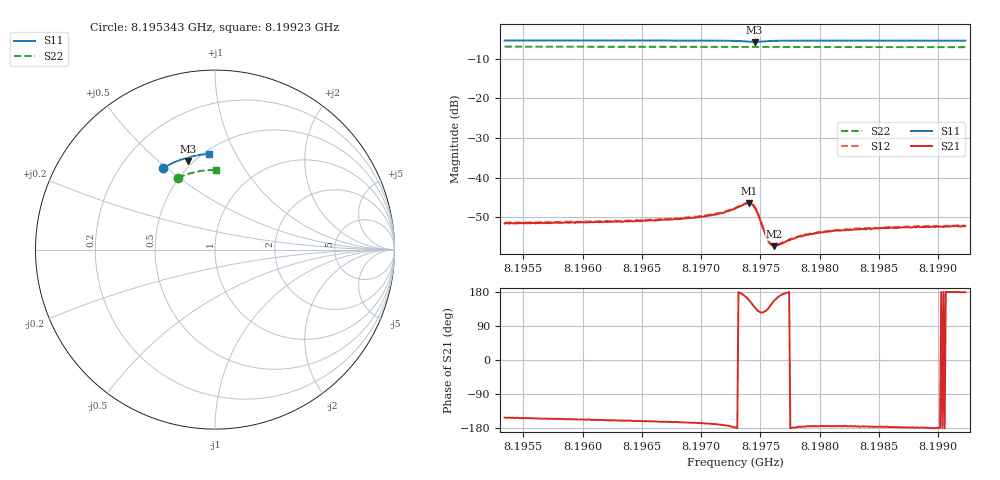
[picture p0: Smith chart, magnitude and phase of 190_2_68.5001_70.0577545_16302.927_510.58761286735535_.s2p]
#  HZ  S  RI  R  50.00
! Rohde & Schwarz Vector Network Analyzer
! Rohde-Schwarz,ZNB20-2Port,1311601062101988,3.16
! Created: UTC 3/20/2024, 5:12:12 PM
! freq[Hz]  re:S11  im:S11  re:S21  im:S21  re:S12  im:S12  re:S22  im:S22
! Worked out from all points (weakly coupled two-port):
!   401 points, 8.195343 GHz to 8.19923 GHz, reference 50 ohm
!   highest |S21| = -46.42 dB at 8.197403 GHz (marker M1); lowest = -57.3 dB at 8.197617 GHz (marker M2)
!   lowest |S11| = -5.8 dB at 8.197451 GHz (marker M3), VSWR 3.12, Z = 23.5 + j31.6 ohm
!   |S11| at or under -10 dB: nowhere
!   |S22| runs from -7.1 to -7.0 dB; largest |S21 - S12| = 0.00023
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8.1953427e9  -0.2883 0.4537  -0.00234 -0.00124  -0.00246 -0.00116  -0.2063 0.399
8.1959938e9  -0.2479 0.4763  -0.00254 -0.00107  -0.0026 -0.000999  -0.1727 0.4136
8.1966449e9  -0.2051 0.4954  -0.00283 -0.000873  -0.00288 -0.000776  -0.1381 0.4251
8.1968198e9  -0.1931 0.4999  -0.00291 -0.000817  -0.003 -0.000678  -0.1286 0.428
8.1970239e9  -0.178 0.5047  -0.00317 -0.000724  -0.00325 -0.000628  -0.1173 0.4308
8.1971793e9  -0.1654 0.5074  -0.00356 -0.000538  -0.00362 -0.000421  -0.1087 0.4326
8.1972862e9  -0.155 0.5077  -0.00407 -0.00014  -0.00415 1.5e-05  -0.1028 0.4338
8.197364e9  -0.1467 0.5037  -0.00456 0.000802  -0.00462 0.000986  -0.0984 0.4346
8.1974029e9  -0.1446 0.4987  -0.00444 0.00175  -0.00446 0.00194  -0.0963 0.4348
8.197432e9  -0.1461 0.4947  -0.00386 0.00249  -0.00384 0.00263  -0.0948 0.4349
8.1974514e9  -0.1487 0.4931  -0.00322 0.00275  -0.00318 0.00294  -0.094 0.4351
8.1974806e9  -0.1529 0.4941  -0.00221 0.00268  -0.00211 0.00281  -0.0923 0.4356
8.1975292e9  -0.1556 0.5006  -0.0013 0.00175  -0.00122 0.00184  -0.0897 0.4361
8.1975583e9  -0.1544 0.5043  -0.00116 0.00124  -0.0011 0.00131  -0.0882 0.4364
8.1975875e9  -0.1524 0.5074  -0.00118 0.000831  -0.00115 0.000917  -0.0866 0.4369
8.1976166e9  -0.1499 0.5095  -0.00126 0.000539  -0.00127 0.000644  -0.0849 0.4372
8.1976458e9  -0.1475 0.5113  -0.00137 0.000367  -0.00137 0.000431  -0.0833 0.4374
8.1978207e9  -0.133 0.5176  -0.00181 -0.000129  -0.00181 -2.87e-05  -0.0735 0.4389
8.1979373e9  -0.1241 0.5203  -0.00194 -0.0002  -0.00197 -0.00011  -0.067 0.4398
8.1981317e9  -0.1098 0.5235  -0.00215 -0.000196  -0.0022 -0.000152  -0.0559 0.441
8.1985884e9  -0.0771 0.5291  -0.00233 -0.000127  -0.00242 -2.73e-05  -0.0302 0.4427
8.1992298e9  -0.0313 0.5331  -0.00247 3.58e-05  -0.00248 0.000141  0.00636 0.4426
